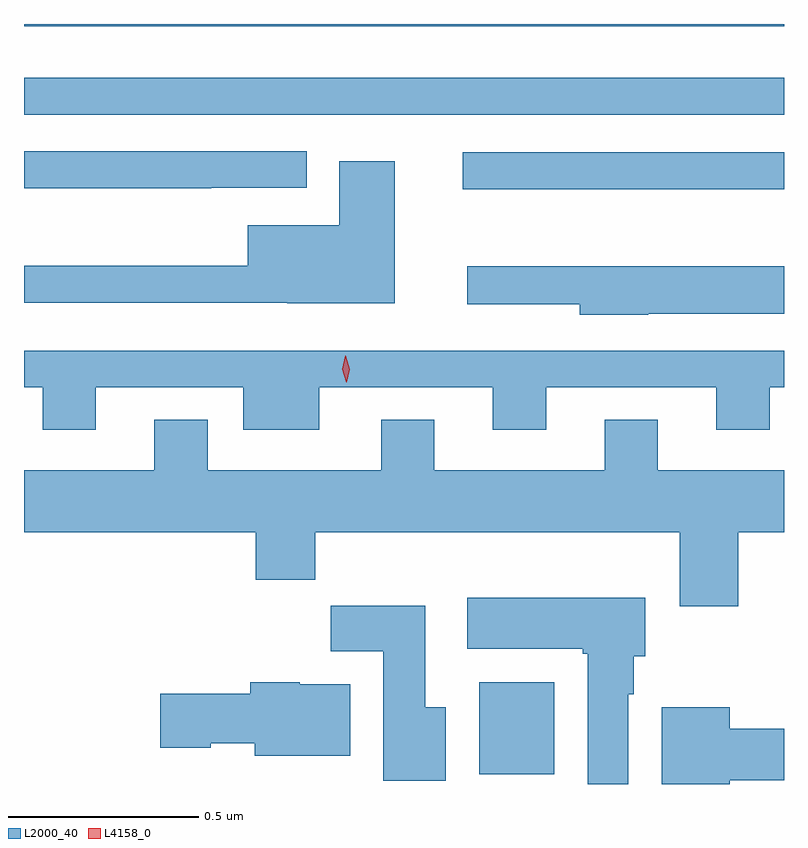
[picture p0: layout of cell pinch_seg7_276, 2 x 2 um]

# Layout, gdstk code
import gdstk
lib = gdstk.Library(unit=1e-6, precision=1e-09)
def R(c, l, rs):  # rectangles x0, y0, x1, y1
    for r in rs: c.add(gdstk.rectangle(r[:2], r[2:], *l))
def P(c, l, *ps):  # polygons
    for p in ps: c.add(gdstk.Polygon(p, *l))
L2000_40 = (2000, 40)
L4158_0 = (4158, 0)

pinch_seg7_276 = lib.new_cell('pinch_seg7_276')
R(pinch_seg7_276, L2000_40, [(804.425,1077.236,804.622,1077.478), (804.381,1078.775,805.227,1078.872), (803.227,1078.971,805.227,1079.068), (803.227,1079.204,805.227,1079.21)])
P(pinch_seg7_276, L2000_40, [(803.72,1078.779),(803.971,1078.779),(803.971,1078.875),(803.227,1078.875),(803.227,1078.778),(803.72,1078.778)],
  [(804.202,1078.849),(804.056,1078.849),(804.056,1078.681),(803.816,1078.681),(803.816,1078.574),(803.227,1078.574),(803.227,1078.477),(803.32,1078.477),(803.32,1078.476),(803.92,1078.476),(803.92,1078.475),(804.202,1078.475)],
  [(804.87,1078.448),(805.227,1078.448),(805.227,1078.573),(804.393,1078.573),(804.393,1078.472),(804.69,1078.472),(804.69,1078.445),(804.87,1078.445)],
  [(803.416,1078.254),(803.804,1078.254),(803.804,1078.142),(804.004,1078.142),(804.004,1078.254),(804.461,1078.254),(804.461,1078.142),(804.601,1078.142),(804.601,1078.254),(805.049,1078.254),(805.049,1078.142),(805.189,1078.142),(805.189,1078.254),(805.227,1078.254),(805.227,1078.35),(803.227,1078.35),(803.227,1078.254),(803.276,1078.254),(803.276,1078.142),(803.416,1078.142)],
  [(805.106,1077.872),(805.227,1077.872),(805.227,1078.036),(804.895,1078.036),(804.895,1078.169),(804.755,1078.169),(804.755,1078.036),(804.307,1078.036),(804.307,1078.169),(804.167,1078.169),(804.167,1078.036),(803.71,1078.036),(803.71,1078.169),(803.57,1078.169),(803.57,1078.036),(803.227,1078.036),(803.227,1077.872),(803.837,1077.872),(803.837,1077.748),(803.993,1077.748),(803.993,1077.872),(804.953,1077.872),(804.953,1077.678),(805.106,1077.678)],
  [(804.817,1077.446),(804.832,1077.446),(804.832,1077.546),(804.862,1077.546),(804.862,1077.7),(804.393,1077.7),(804.393,1077.566),(804.697,1077.566),(804.697,1077.553),(804.71,1077.553),(804.71,1077.21),(804.817,1077.21)],
  [(804.337,1077.412),(804.283,1077.412),(804.283,1077.679),(804.034,1077.679),(804.034,1077.56),(804.173,1077.56),(804.173,1077.219),(804.337,1077.219)],
  [(804.085,1077.472),(803.952,1077.472),(803.952,1077.478),(803.822,1077.478),(803.822,1077.447),(803.586,1077.447),(803.586,1077.305),(803.718,1077.305),(803.718,1077.317),(803.834,1077.317),(803.834,1077.284),(804.085,1077.284)],
  [(805.084,1077.22),(805.227,1077.22),(805.227,1077.356),(805.084,1077.356),(805.084,1077.412),(804.905,1077.412),(804.905,1077.21),(805.084,1077.21)])
P(pinch_seg7_276, L4158_0, [(804.075,1078.267),(804.064,1078.302),(804.073,1078.337),(804.073,1078.337),(804.074,1078.337),(804.084,1078.302),(804.076,1078.267),(804.076,1078.267)])

lib.write_gds('pinch_seg7_276.gds')
